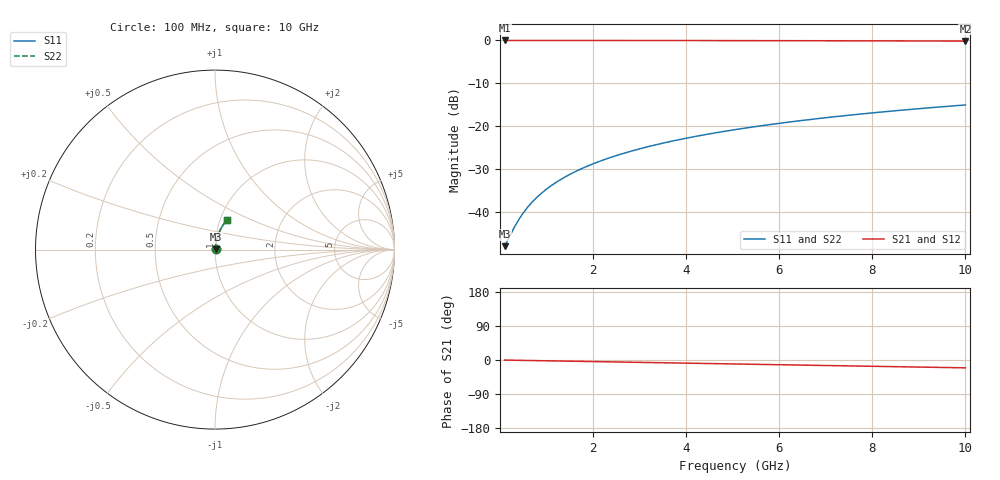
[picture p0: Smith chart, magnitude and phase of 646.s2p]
# Hz S RI R 50.00
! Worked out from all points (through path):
!   100 points, 100 MHz to 10 GHz, reference 50 ohm
!   highest |S21| = -0.03 dB at 100 MHz (marker M1); lowest = -0.2 dB at 10 GHz (marker M2)
!   group delay of S21, straight-line fit = 5.75 ps
!   lowest |S11| = -47.9 dB at 100 MHz (marker M3), VSWR 1.01, Z = 50.4 + j0.182 ohm
!   |S11| at or under -10 dB: start of sweep to end of sweep
!   |S22| runs from -47.9 to -15.0 dB; largest |S21 - S12| = 0
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1e8  0.0036 0.00181  0.9964 -0.00362  0.9964 -0.00362  0.0036 0.00181
3e8  0.0037 0.00543  0.9963 -0.0109  0.9963 -0.0109  0.0037 0.00543
4e8  0.00376 0.00723  0.9962 -0.0145  0.9962 -0.0145  0.00376 0.00723
5e8  0.00383 0.00904  0.9961 -0.0181  0.9961 -0.0181  0.00383 0.00904
6e8  0.00391 0.0108  0.996 -0.0217  0.996 -0.0217  0.00391 0.0108
7e8  0.004 0.0127  0.9959 -0.0253  0.9959 -0.0253  0.004 0.0127
8e8  0.00411 0.0145  0.9958 -0.0289  0.9958 -0.0289  0.00411 0.0145
1e9  0.00436 0.0181  0.9955 -0.0362  0.9955 -0.0362  0.00436 0.0181
1.2e9  0.00466 0.0217  0.9951 -0.0434  0.9951 -0.0434  0.00466 0.0217
1.5e9  0.00521 0.0271  0.9944 -0.0542  0.9944 -0.0542  0.00521 0.0271
1.8e9  0.00588 0.0325  0.9936 -0.065  0.9936 -0.065  0.00588 0.0325
2.1e9  0.00666 0.0378  0.9926 -0.0758  0.9926 -0.0758  0.00666 0.0378
2.5e9  0.00787 0.0449  0.9911 -0.0902  0.9911 -0.0902  0.00787 0.0449
2.9e9  0.0093 0.052  0.9893 -0.1045  0.9893 -0.1045  0.0093 0.052
3.4e9  0.0114 0.0608  0.9867 -0.1224  0.9867 -0.1224  0.0114 0.0608
4.2e9  0.0153 0.0747  0.9817 -0.1508  0.9817 -0.1508  0.0153 0.0747
5.1e9  0.0207 0.0899  0.9749 -0.1824  0.9749 -0.1824  0.0207 0.0899
5.9e9  0.0263 0.1032  0.9678 -0.2102  0.9678 -0.2102  0.0263 0.1032
6.7e9  0.0327 0.116  0.9598 -0.2376  0.9598 -0.2376  0.0327 0.116
7.5e9  0.0397 0.1285  0.9508 -0.2647  0.9508 -0.2647  0.0397 0.1285
8.4e9  0.0485 0.1419  0.9396 -0.2946  0.9396 -0.2946  0.0485 0.1419
1e10  0.0661 0.1643  0.917 -0.3462  0.917 -0.3462  0.0661 0.1643
